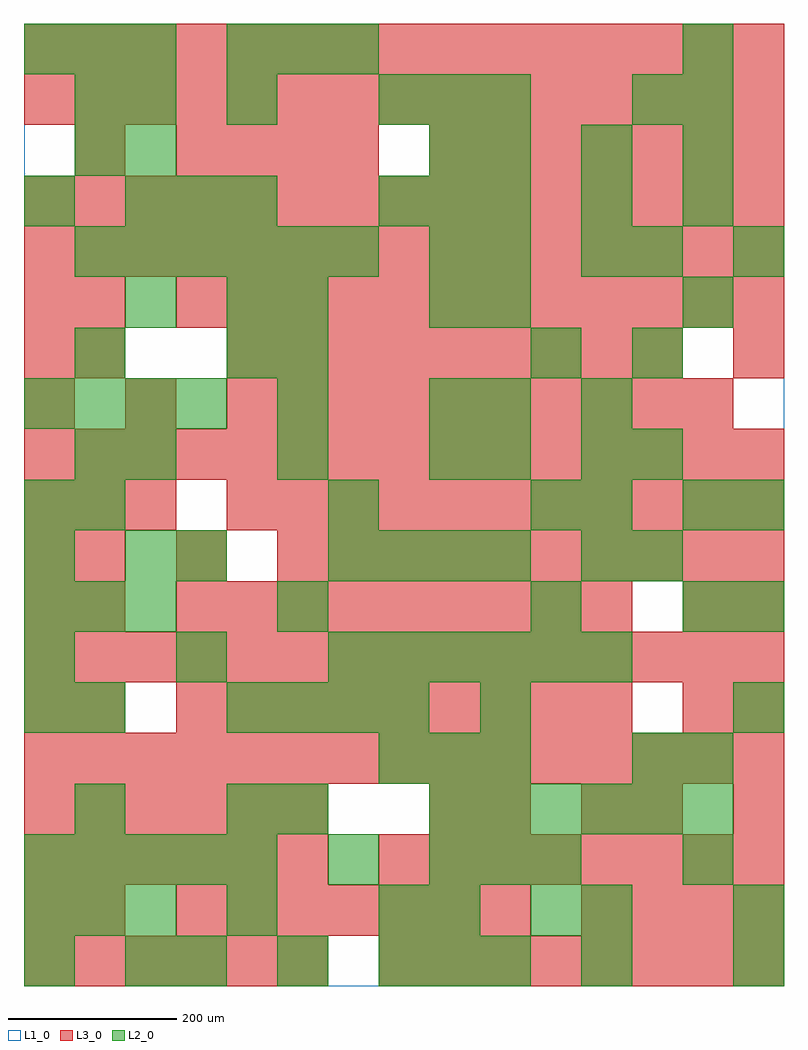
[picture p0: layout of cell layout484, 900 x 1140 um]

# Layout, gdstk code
import gdstk
lib = gdstk.Library(unit=1e-6, precision=1e-09)
def R(c, l, rs):  # rectangles x0, y0, x1, y1
    for r in rs: c.add(gdstk.rectangle(r[:2], r[2:], *l))
def A(c, l, x, y, w, h, nx, ny, dx, dy):  # array of equal rectangles
    R(c, l, [(x+i*dx, y+j*dy, x+i*dx+w, y+j*dy+h) for i in range(nx) for j in range(ny)])
L1_0 = (1, 0)
L2_0 = (2, 0)
L3_0 = (3, 0)

layout484 = lib.new_cell('layout484')
R(layout484, L1_0, [(0,0,900,1140)])
A(layout484, L2_0, 180, 0, 60, 60, 3, 1, 120, 0)
A(layout484, L2_0, 540, 0, 60, 60, 1, 3, 0, 300)
A(layout484, L2_0, 0, 60, 60, 60, 3, 2, 60, 360)
A(layout484, L2_0, 0, 120, 60, 60, 5, 1, 60, 0)
A(layout484, L2_0, 480, 120, 60, 60, 3, 1, 60, 0)
A(layout484, L2_0, 300, 180, 60, 60, 1, 3, 0, 240)
A(layout484, L2_0, 480, 180, 60, 60, 6, 1, 60, 0)
A(layout484, L2_0, 420, 240, 60, 60, 3, 2, 60, 660)
A(layout484, L2_0, 240, 300, 60, 60, 4, 1, 60, 0)
A(layout484, L2_0, 840, 300, 60, 60, 1, 3, 0, 120)
A(layout484, L2_0, 0, 360, 60, 60, 3, 1, 180, 0)
A(layout484, L2_0, 420, 360, 60, 60, 5, 1, 60, 0)
A(layout484, L2_0, 360, 480, 60, 60, 4, 1, 60, 0)
A(layout484, L2_0, 660, 480, 60, 60, 1, 4, 0, 60)
A(layout484, L2_0, 720, 480, 60, 60, 1, 4, 0, 120)
A(layout484, L2_0, 120, 600, 60, 60, 3, 1, 180, 0)
A(layout484, L2_0, 0, 660, 60, 60, 4, 1, 60, 0)
A(layout484, L2_0, 780, 780, 60, 60, 1, 3, 0, 120)
A(layout484, L2_0, 60, 840, 60, 60, 6, 1, 60, 0)
A(layout484, L2_0, 120, 900, 60, 60, 3, 1, 60, 0)
A(layout484, L2_0, 540, 960, 60, 60, 3, 1, 120, 0)
A(layout484, L2_0, 420, 1020, 60, 60, 3, 1, 60, 0)
A(layout484, L2_0, 0, 1080, 60, 60, 3, 1, 60, 0)
A(layout484, L2_0, 240, 1080, 60, 60, 3, 1, 60, 0)
R(layout484, L2_0, [(0,0,60,60), (120,0,180,60), (480,0,540,60), (660,0,720,60), (840,0,900,60), (240,60,300,120), (420,60,480,120), (480,60,540,120), (600,60,660,120), (660,60,720,120), (840,60,900,120), (360,120,420,180), (780,120,840,180), (60,180,120,240), (240,180,300,240), (720,240,780,300), (780,240,840,300), (0,300,60,360), (60,300,120,360), (600,420,660,480), (780,420,840,480), (0,480,60,540), (120,480,180,540), (180,480,240,540), (0,540,60,600), (60,540,120,600), (360,540,420,600), (600,540,660,600), (780,540,840,600), (60,600,120,660), (480,660,540,720), (540,660,600,720), (60,720,120,780), (240,720,300,780), (300,720,360,780), (600,720,660,780), (120,780,180,840), (240,780,300,840), (300,780,360,840), (480,780,540,840), (540,780,600,840), (480,840,540,900), (540,840,600,900), (660,840,720,900), (840,840,900,900), (0,900,60,960), (660,900,720,960), (60,960,120,1020), (120,960,180,1020), (480,960,540,1020), (60,1020,120,1080), (120,1020,180,1080), (240,1020,300,1080), (720,1020,780,1080), (780,1080,840,1140)])
A(layout484, L3_0, 0, 0, 60, 60, 6, 2, 60, 120)
A(layout484, L3_0, 420, 0, 60, 60, 8, 2, 60, 120)
A(layout484, L3_0, 180, 60, 60, 60, 7, 1, 60, 0)
A(layout484, L3_0, 660, 60, 60, 60, 4, 1, 60, 0)
A(layout484, L3_0, 0, 180, 60, 60, 6, 1, 60, 0)
A(layout484, L3_0, 840, 180, 60, 60, 1, 3, 0, 120)
A(layout484, L3_0, 0, 240, 60, 60, 15, 2, 60, 120)
A(layout484, L3_0, 180, 300, 60, 60, 9, 2, 60, 120)
A(layout484, L3_0, 60, 480, 60, 60, 3, 1, 120, 0)
A(layout484, L3_0, 360, 480, 60, 60, 9, 1, 60, 0)
A(layout484, L3_0, 0, 540, 60, 60, 3, 1, 60, 0)
A(layout484, L3_0, 240, 540, 60, 60, 11, 1, 60, 0)
A(layout484, L3_0, 0, 600, 60, 60, 15, 2, 60, 240)
A(layout484, L3_0, 0, 660, 60, 60, 3, 1, 120, 0)
A(layout484, L3_0, 300, 660, 60, 60, 9, 1, 60, 0)
A(layout484, L3_0, 240, 720, 60, 60, 9, 1, 60, 0)
A(layout484, L3_0, 180, 780, 60, 60, 12, 1, 60, 0)
A(layout484, L3_0, 0, 900, 60, 60, 15, 2, 60, 120)
A(layout484, L3_0, 180, 960, 60, 60, 4, 1, 60, 0)
A(layout484, L3_0, 480, 960, 60, 60, 7, 1, 60, 0)
A(layout484, L3_0, 0, 1080, 60, 60, 15, 1, 60, 0)
R(layout484, L3_0, [(0,60,60,120), (60,60,120,120), (480,180,540,240), (540,180,600,240), (660,180,720,240), (720,180,780,240), (0,300,60,360), (60,300,120,360), (780,300,840,360), (0,420,60,480), (60,420,120,480), (780,420,840,480), (0,480,60,540), (0,720,60,780), (60,720,120,780), (840,720,900,780), (0,780,60,840), (60,780,120,840), (60,960,120,1020)])

lib.write_gds('layout484.gds')
